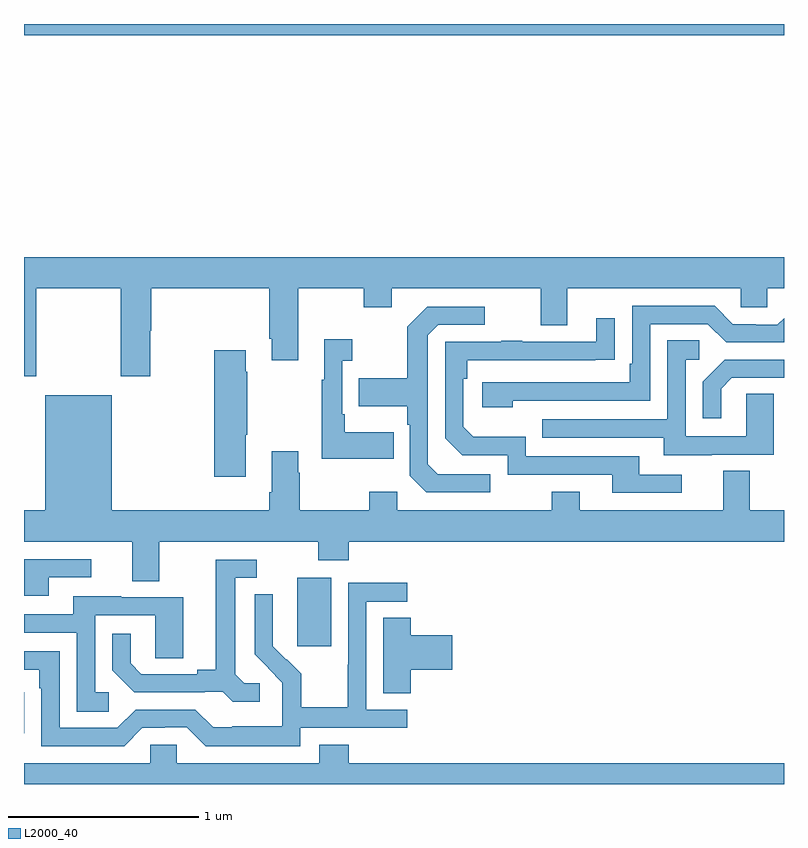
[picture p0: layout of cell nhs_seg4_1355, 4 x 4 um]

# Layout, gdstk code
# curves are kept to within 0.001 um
import gdstk
lib = gdstk.Library(unit=1e-6, precision=1e-09)
def R(c, l, rs):  # rectangles x0, y0, x1, y1
    for r in rs: c.add(gdstk.rectangle(r[:2], r[2:], *l))
def P(c, l, *ps):  # polygons
    for p in ps: c.add(gdstk.Polygon(p, *l))
L2000_40 = (2000, 40)

nhs_seg4_1355 = lib.new_cell('nhs_seg4_1355')
R(nhs_seg4_1355, L2000_40, [(181,773.166,181.001,773.384), (182.438,773.625,182.617,773.986), (181,776.84,185,776.9)])
P(nhs_seg4_1355, L2000_40, [(181.065,775.508),(181.51,775.508),(181.51,775.047),(181.665,775.047),(181.665,775.286),(181.67,775.286),(181.67,775.508),(182.291,775.508),(182.291,775.243),(182.303,775.243),(182.303,775.131),(182.443,775.131),(182.443,775.508),(182.788,775.508),(182.788,775.409),(182.935,775.409),(182.935,775.508),(183.719,775.508),(183.719,775.314),(183.859,775.314),(183.859,775.508),(184.773,775.508),(184.773,775.41),(184.911,775.41),(184.911,775.508),(185,775.508),(185,775.672),(181,775.672),(181,775.047),(181.065,775.047)],
  [(183.572,774.918),(184.296,774.918),(184.296,775.32),(184.599,775.32),(184.695,775.224),(185,775.224),(185,775.352),(184.965,775.317),(184.85,775.317),(184.85,775.32),(184.731,775.32),(184.635,775.416),(184.2,775.416),(184.2,775.111),(184.187,775.111),(184.187,775.014),(183.411,775.014),(183.411,774.884),(183.572,774.884)],
  [(183.454,774.531),(183.177,774.531),(183.126,774.582),(183.126,775.263),(183.18,775.317),(183.424,775.317),(183.424,775.413),(183.123,775.413),(183.018,775.307),(183.018,775.035),(182.761,775.035),(182.761,774.887),(183.018,774.887),(183.018,774.791),(183.03,774.791),(183.03,774.522),(183.117,774.435),(183.454,774.435)],
  [(184.462,774.528),(184.237,774.528),(184.237,774.624),(183.642,774.624),(183.642,774.727),(183.365,774.727),(183.312,774.78),(183.312,775.034),(183.332,775.034),(183.332,775.131),(184.109,775.132),(184.109,775.351),(184.013,775.351),(184.013,775.227),(183.623,775.227),(183.623,775.232),(183.511,775.232),(183.511,775.227),(183.216,775.227),(183.216,774.72),(183.306,774.63),(183.546,774.63),(183.546,774.528),(184.097,774.528),(184.097,774.432),(184.462,774.432)],
  [(182.945,774.751),(182.689,774.751),(182.689,774.847),(182.676,774.847),(182.676,775.127),(182.728,775.127),(182.728,775.24),(182.579,775.24),(182.579,775.027),(182.568,775.027),(182.568,774.611),(182.945,774.611)],
  [(184.621,774.633),(184.945,774.633),(184.945,774.953),(184.8,774.953),(184.8,774.729),(184.482,774.729),(184.482,775.134),(184.555,775.134),(184.555,775.235),(184.386,775.235),(184.386,774.819),(183.727,774.819),(183.727,774.723),(184.367,774.723),(184.367,774.629),(184.621,774.629)],
  [(182.167,774.739),(182.175,774.739),(182.175,775.07),(182.167,775.07),(182.167,775.183),(182,775.183),(182,774.516),(182.167,774.516)],
  [(184.669,774.981),(184.726,775.038),(185,775.038),(185,775.134),(184.688,775.134),(184.572,775.018),(184.572,774.825),(184.669,774.825)],
  [(181.711,774.176),(182.548,774.176),(182.548,774.077),(182.708,774.077),(182.708,774.176),(185,774.176),(185,774.34),(184.819,774.34),(184.819,774.548),(184.679,774.548),(184.679,774.34),(183.925,774.34),(183.925,774.439),(183.778,774.439),(183.778,774.34),(182.964,774.34),(182.964,774.439),(182.818,774.439),(182.818,774.34),(182.451,774.34),(182.451,774.539),(182.443,774.539),(182.443,774.652),(182.303,774.652),(182.303,774.436),(182.291,774.436),(182.291,774.34),(181.462,774.34),(181.462,774.946),(181.112,774.946),(181.112,774.34),(181,774.34),(181,774.176),(181.571,774.176),(181.571,773.968),(181.711,773.968)],
  [(181.129,773.988),(181.354,773.988),(181.354,774.084),(181,774.084),(181,773.892),(181.129,773.892)],
  [(182.242,773.43),(182.16,773.43),(182.113,773.477),(182.113,773.985),(182.224,773.985),(182.224,774.081),(182.009,774.081),(182.009,773.501),(181.913,773.501),(181.913,773.478),(181.618,773.478),(181.561,773.535),(181.561,773.692),(181.464,773.692),(181.464,773.498),(181.58,773.382),(181.952,773.382),(181.952,773.385),(182.046,773.385),(182.098,773.333),(182.242,773.333)],
  [(182.454,773.196),(183.016,773.196),(183.016,773.292),(182.802,773.292),(182.802,773.859),(183.016,773.859),(183.016,773.958),(182.706,773.958),(182.706,773.528),(182.704,773.528),(182.704,773.305),(182.459,773.305),(182.459,773.479),(182.382,773.556),(182.379,773.553),(182.309,773.624),(182.31,773.9),(182.214,773.9),(182.214,773.582),(182.36,773.434),(182.36,773.337),(182.358,773.337),(182.358,773.203),(182.095,773.203),(182.095,773.199),(181.995,773.199),(181.902,773.292),(181.587,773.292),(181.491,773.196),(181.188,773.196),(181.188,773.598),(181,773.598),(181,773.502),(181.079,773.502),(181.079,773.405),(181.092,773.405),(181.092,773.1),(181.527,773.1),(181.623,773.196),(181.742,773.196),(181.742,773.199),(181.857,773.199),(181.957,773.099),(182.454,773.099)],
  [(181.447,773.382),(181.374,773.382),(181.374,773.787),(181.692,773.787),(181.692,773.563),(181.837,773.563),(181.837,773.883),(181.513,773.883),(181.513,773.887),(181.259,773.887),(181.259,773.793),(181,773.793),(181,773.697),(181.278,773.697),(181.278,773.281),(181.447,773.281)],
  [(183.035,773.501),(183.253,773.501),(183.253,773.684),(183.035,773.684),(183.035,773.774),(182.891,773.774),(182.891,773.377),(183.035,773.377)],
  [(185,773.008),(182.708,773.008),(182.708,773.107),(182.555,773.107),(182.555,773.008),(181.803,773.008),(181.803,773.106),(181.665,773.106),(181.665,773.008),(181,773.008),(181,772.9),(185,772.9)])

lib.write_gds('nhs_seg4_1355.gds')
